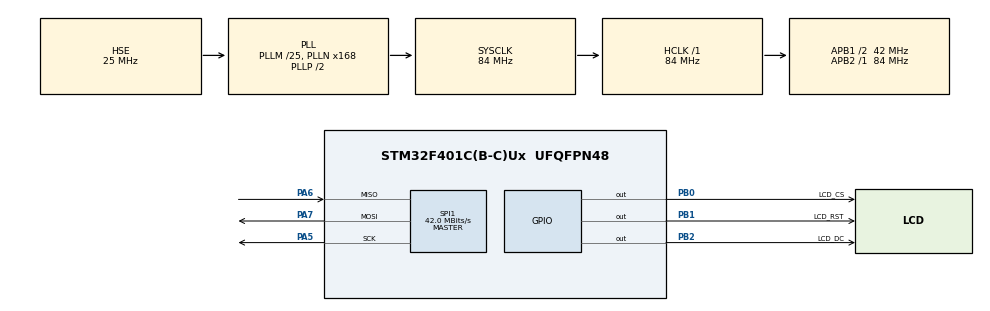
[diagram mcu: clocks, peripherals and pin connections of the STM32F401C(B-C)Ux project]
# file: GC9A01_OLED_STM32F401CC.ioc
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Dma.Request0=SPI1_RX
Dma.Request1=SPI1_TX
Dma.SPI1_RX.0.Direction=DMA_PERIPH_TO_MEMORY
Dma.SPI1_RX.0.FIFOMode=DMA_FIFOMODE_DISABLE
Dma.SPI1_RX.0.Instance=DMA2_Stream0
Dma.SPI1_RX.0.MemDataAlignment=DMA_MDATAALIGN_BYTE
Dma.SPI1_RX.0.MemInc=DMA_MINC_ENABLE
Dma.SPI1_RX.0.Mode=DMA_NORMAL
Dma.SPI1_RX.0.PeriphDataAlignment=DMA_PDATAALIGN_BYTE
Dma.SPI1_RX.0.PeriphInc=DMA_PINC_DISABLE
Dma.SPI1_RX.0.Priority=DMA_PRIORITY_LOW
Dma.SPI1_TX.1.Direction=DMA_MEMORY_TO_PERIPH
Dma.SPI1_TX.1.FIFOMode=DMA_FIFOMODE_DISABLE
Dma.SPI1_TX.1.Instance=DMA2_Stream3
Dma.SPI1_TX.1.MemDataAlignment=DMA_MDATAALIGN_BYTE
Dma.SPI1_TX.1.MemInc=DMA_MINC_ENABLE
Dma.SPI1_TX.1.Mode=DMA_NORMAL
Dma.SPI1_TX.1.PeriphDataAlignment=DMA_PDATAALIGN_BYTE
Dma.SPI1_TX.1.PeriphInc=DMA_PINC_DISABLE
Dma.SPI1_TX.1.Priority=DMA_PRIORITY_LOW
Mcu.Family=STM32F4
Mcu.Name=STM32F401C(B-C)Ux
Mcu.Package=UFQFPN48
NVIC.DMA2_Stream0_IRQn=true\:0\:0\:false\:false\:true\:false\:true\:true
NVIC.DMA2_Stream3_IRQn=true\:0\:0\:false\:false\:true\:false\:true\:true
NVIC.PriorityGroup=NVIC_PRIORITYGROUP_4
PA13.Mode=Serial_Wire
PA13.Signal=SYS_JTMS-SWDIO
PA14.Mode=Serial_Wire
PA14.Signal=SYS_JTCK-SWCLK
PA5.Mode=Full_Duplex_Master
PA5.Signal=SPI1_SCK
PA6.Mode=Full_Duplex_Master
PA6.Signal=SPI1_MISO
PA7.Mode=Full_Duplex_Master
PA7.Signal=SPI1_MOSI
PB0.GPIO_Label=LCD_CS
PB0.GPIO_Speed=GPIO_SPEED_FREQ_VERY_HIGH
PB0.Signal=GPIO_Output
PB1.GPIO_Label=LCD_RST
PB1.GPIO_Speed=GPIO_SPEED_FREQ_VERY_HIGH
PB1.Signal=GPIO_Output
PB2.GPIO_Label=LCD_DC
PB2.GPIO_Speed=GPIO_SPEED_FREQ_VERY_HIGH
PB2.Signal=GPIO_Output
PH0\ -\ OSC_IN.Mode=HSE-External-Oscillator
PH0\ -\ OSC_IN.Signal=RCC_OSC_IN
PH1\ -\ OSC_OUT.Mode=HSE-External-Oscillator
PH1\ -\ OSC_OUT.Signal=RCC_OSC_OUT
ProjectManager.HeapSize=0x200
ProjectManager.StackSize=0x400
ProjectManager.TargetToolchain=STM32CubeIDE
RCC.48MHZClocksFreq_Value=42000000
RCC.AHBFreq_Value=84000000
RCC.APB1CLKDivider=RCC_HCLK_DIV2
RCC.APB1Freq_Value=42000000
RCC.APB1TimFreq_Value=84000000
RCC.APB2Freq_Value=84000000
RCC.APB2TimFreq_Value=84000000
RCC.CortexFreq_Value=84000000
RCC.HCLKFreq_Value=84000000
RCC.HSE_VALUE=25000000
RCC.HSI_VALUE=16000000
RCC.LSE_VALUE=32768
RCC.PLLM=25
RCC.PLLN=168
RCC.PLLSourceVirtual=RCC_PLLSOURCE_HSE
RCC.SYSCLKFreq_VALUE=84000000
RCC.SYSCLKSource=RCC_SYSCLKSOURCE_PLLCLK
RCC.VCOOutputFreq_Value=168000000
RTC.Hours=12
RTC.Minutes=15
SPI1.BaudRatePrescaler=SPI_BAUDRATEPRESCALER_2
SPI1.CalculateBaudRate=42.0 MBits/s
SPI1.Direction=SPI_DIRECTION_2LINES
SPI1.Mode=SPI_MODE_MASTER
SPI1.VirtualType=VM_MASTER
VP_RTC_VS_RTC_Activate.Mode=RTC_Enabled
VP_RTC_VS_RTC_Calendar.Mode=RTC_Calendar
board=custom

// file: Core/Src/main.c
/* USER CODE BEGIN Header */
/**
  ******************************************************************************
  * @file           : main.c
  * @brief          : Main program body
  ******************************************************************************
  * @attention
  *
  * Copyright (c) 2024 STMicroelectronics.
  * All rights reserved.
  *
  * This software is licensed under terms that can be found in the LICENSE file
  * in the root directory of this software component.
  * If no LICENSE file comes with this software, it is provided AS-IS.
  *
  ******************************************************************************
  */
/* USER CODE END Header */
#include "main.h"

/* USER CODE BEGIN Includes */
#include "GC9A01.h"

#include "bitmap.h"
#include "fonts.h"

#include "stdio.h"

uint8_t hh,mm,ss;

#define PI 	3.14159265
#define xC	120
#define yC	120
/* USER CODE END Includes */

RTC_HandleTypeDef hrtc;

SPI_HandleTypeDef hspi1;
DMA_HandleTypeDef hdma_spi1_rx;
DMA_HandleTypeDef hdma_spi1_tx;

void SystemClock_Config(void);
static void MX_GPIO_Init(void);
static void MX_DMA_Init(void);
static void MX_SPI1_Init(void);
static void MX_RTC_Init(void);

/* USER CODE BEGIN 0 */
static void DrawArrow(int16_t angle, uint8_t lineLen, uint8_t thick, uint16_t color) {

	angle -= 90;
	float angleRad = (float) angle * PI / 180;
	int x = cos(angleRad) * lineLen + xC;
	int y = sin(angleRad) * lineLen + yC;

	GC9A01_DrawLineThick(xC, yC, x, y, color, thick);
}

void DrawClock(uint8_t hour, uint8_t min, uint8_t sec, uint8_t light, uint8_t secBubbles) {

	uint16_t bgColor, riskColor, digitColor, arrowColor, secArcColor;

	if (light) {
		bgColor = GC9A01_WHITE;
		riskColor = digitColor = arrowColor = GC9A01_BLACK;
		secArcColor = GC9A01_MAGENTA;
	} else {
		bgColor = GC9A01_BLACK;
		riskColor = digitColor = arrowColor = GC9A01_WHITE;
		secArcColor = GC9A01_GREEN;
	}

//	GC9A01_FillScreen(bgColor);   //NO DMA
	ClearScreen2(GC9A01_BLACK);   //DMA

	uint8_t radius1 = 119;
	for (uint16_t angle = 0; angle <= 360; angle += 6) {
		uint8_t riskSize;
		if (!(angle % 90))
			riskSize = 13;
		else if (!(angle % 30))
			riskSize = 10;
		else
			riskSize = 6;

		uint8_t radius2 = radius1 - riskSize;
		float angleRad = (float) angle * PI / 180;
		int x1 = cos(angleRad) * radius1 + xC;
		int y1 = sin(angleRad) * radius1 + yC;
		int x2 = cos(angleRad) * radius2 + xC;
		int y2 = sin(angleRad) * radius2 + yC;

		GC9A01_DrawLine(x1, y1, x2, y2, riskColor);
	}

	GC9A01_print( 165, 30, digitColor , RGB565(0, 10, 100) , 0, &Font_11x18, 1, "1" );
	GC9A01_print( 200, 63, digitColor , RGB565(0, 10, 100) , 0, &Font_11x18, 1, "2" );
	GC9A01_print( 207, 110, digitColor , RGB565(0, 10, 100) , 0, &Font_16x26, 1, "3" );
	GC9A01_print( 200, 160, digitColor , RGB565(0, 10, 100) , 0, &Font_11x18, 1, "4" );
	GC9A01_print( 165, 193, digitColor , RGB565(0, 10, 100) , 0, &Font_11x18, 1, "5" );
	GC9A01_print( 110, 200, digitColor , RGB565(0, 10, 100) , 0, &Font_16x26, 1, "6" );
	GC9A01_print( 65, 193, digitColor , RGB565(0, 10, 100) , 0, &Font_11x18, 1, "7" );
	GC9A01_print( 32, 160, digitColor , RGB565(0, 10, 100) , 0, &Font_11x18, 1, "8" );
	GC9A01_print( 19, 110, digitColor , RGB565(0, 10, 100) , 0, &Font_16x26, 1, "9" );
	GC9A01_print( 32, 63, digitColor , RGB565(0, 10, 100) , 0, &Font_11x18, 1, "10" );
	GC9A01_print( 65, 30, digitColor , RGB565(0, 10, 100) , 0, &Font_11x18, 1, "11" );
	GC9A01_print( 106, 20, digitColor , RGB565(0, 10, 100) , 0, &Font_16x26, 1, "12" );

	DrawArrow(min * 6 + sec / 10, 80, 2, arrowColor);

	DrawArrow(hour * 30 + min / 2, 50, 4, arrowColor);

	if (!sec)
		sec = 60;
	if (secBubbles) {
		int16_t startAngle = -90;
		int16_t endAngle = sec * 6 - 90;

		for (int16_t angle = startAngle; angle <= endAngle; angle += 6) {
			float angleRad = (float) angle * PI / 180;
			int x = cos(angleRad) * 119 + xC;
			int y = sin(angleRad) * 119 + yC;

			if (angle == endAngle)
				GC9A01_DrawCircleFilled(x, y, 4, secArcColor);
			else
				GC9A01_DrawCircleFilled(x, y, 2, secArcColor);
		}
	} else
		GC9A01_DrawArc(xC, yC, 119, 0, sec * 6, secArcColor, 2);

	//HAL_Delay(50);
}
/* USER CODE END 0 */

int main(void)
{

  /* MCU Configuration--------------------------------------------------------*/

  /* Reset of all peripherals, Initializes the Flash interface and the Systick. */
  HAL_Init();

  /* Configure the system clock */
  SystemClock_Config();

  /* Initialize all configured peripherals */
  MX_GPIO_Init();
  MX_DMA_Init();
  MX_SPI1_Init();
  MX_RTC_Init();
  /* USER CODE BEGIN 2 */
  GC9A01_Init();
//  	GC9A01_FillScreen( RGB565(255, 0, 0) );
//  	HAL_Delay (1000);
//  	GC9A01_FillScreen( RGB565(0, 255, 0) );
//  	HAL_Delay (1000);
//  	GC9A01_FillScreen( RGB565(0, 0, 255) );
//  	HAL_Delay (1000);
//  	GC9A01_FillScreen( RGB565(57, 179, 185) );
//  	HAL_Delay (1000);
//  	GC9A01_DrawPixel( 12, 12, RGB565( 255, 255, 255 ) );
//  	HAL_Delay (1000);
//    GC9A01_DrawChar( 120, 20, RGB565( 228, 233, 50 ) , RGB565( 0, 10, 10 ) , 0, &Font_16x26, 1, 'F' );
//  	HAL_Delay (1000);
//  	GC9A01_Clear();
//  	GC9A01_DrawRectangleFilled(105, 105, 30, 30, RGB565(255, 255, 255)) ;
//  	HAL_Delay (1000);
//  	for( uint8_t i = 0; i< GC9A01_Width; i+=3){
//  		GC9A01_DrawRectangleFilled(i, i, GC9A01_Width-i, GC9A01_Height-i, RGB565(i/2, 255-i, 0+i)) ;
//  	}
//
//  	for( uint8_t i = 0; i< GC9A01_Width/2; i+=3){
//  		GC9A01_DrawRectangle(i, i, GC9A01_Width-i, GC9A01_Height-i, RGB565(255, 0, 0)) ;
//  	}
//  	HAL_Delay (1000);
//  	GC9A01_Clear();
//    GC9A01_DrawImage( 80, 80, 85, 53, img0	);
//  	HAL_Delay (1000);
//
//  	GC9A01_print( 1, 1, RGB565(255, 255, 255) , RGB565(0, 10, 100) , 1, &Font_16x26, 1, "STM32 TFT" );
//
//  	GC9A01_print( 1, 20, RGB565(255, 0, 0) , RGB565(0, 10, 100) , 1, &Font_11x18, 1, "Кла�?�?ный ди�?плей !!!" );
//
//    GC9A01_print( 1, 40, RGB565(0, 255, 0) , RGB565(0, 10, 100) , 1, &Font_7x9, 2, "GC9A01 : 240x240" );
//
//  	HAL_Delay (1000);
//
//  	GC9A01_Clear();
//
//  	GC9A01_DrawBitmap( 50, 50, logo, 128, 27, RGB565(255, 0, 255) );
//
//  	HAL_Delay (1000);
//
//  	GC9A01_Clear();
//
//  	GC9A01_DrawCircle(120-1, 120-1, 10, RGB565(255, 0, 255));
//
//  	HAL_Delay (1000);
//
//  	GC9A01_DrawArc(100, 100, 50, 90, 180, RGB565(255, 255, 0), 5);
//
//  	GC9A01_DrawCircleFilled(50, 290, 20, RGB565(255, 40, 255)) ;
//
//  	GC9A01_DrawLine(1, 319, 239, 319, RGB565(255, 255, 0));
//
//  	GC9A01_DrawLineThick(10, 120, 200, 140, RGB565(255, 255, 0), 5);
//
//  	GC9A01_DrawRectangleFilled(90, 265, 140, 310, RGB565(0, 255, 0)) ;
//
//  	GC9A01_DrawRectangle(160, 265, 220, 309, RGB565(255, 255, 255)) ;
//
//  	GC9A01_DrawTriangle(60, 40, 150, 100, 200, 200, RGB565(100, 255, 150) );
//
//  	GC9A01_DrawFilledTriangle(20, 40, 150, 100, 200, 200, RGB565(100, 255, 150) );
//
//  	GC9A01_DrawFillRoundRect(10, 10, 50, 50, 10, RGB565(100, 255, 150));
//
//  	GC9A01_DrawRoundRect(10, 10, 50, 50, 10, RGB565(100, 255, 150));
//
//  	GC9A01_DrawFillCircleHelper(30, 30, 20 , 1, 0, RGB565(100, 255, 150));
//
//  	GC9A01_DrawCircleHelper(30, 30, 20 , 1, RGB565(100, 255, 150));
//
//  	HAL_Delay (1000);
//
//  	GC9A01_SleepModeEnter();
//  	HAL_Delay (1000);
//
//  	GC9A01_SleepModeExit();
//  	HAL_Delay (1000);
//
//  	GC9A01_DisplayPower( 0 );
//  	HAL_Delay (1000);
//
//  	GC9A01_DisplayPower( 1 );
//  	HAL_Delay (1000);
//
//  	GC9A01_InversionMode(0);
//  	HAL_Delay (1000);
//
//  	GC9A01_InversionMode(1);
//  	HAL_Delay (1000);
  /* USER CODE END 2 */

  /* Infinite loop */
  /* USER CODE BEGIN WHILE */
  while (1)
  {

		RTC_DateTypeDef gDate;
		RTC_TimeTypeDef gTime;

		  HAL_RTC_GetTime(&hrtc, &gTime, RTC_FORMAT_BIN);
		  /* Get the RTC current Date */
		  HAL_RTC_GetDate(&hrtc, &gDate, RTC_FORMAT_BIN);

		    ss=gTime.Seconds;
		    mm=gTime.Minutes;
		    hh=gTime.Hours;

//		for( uint8_t i = 0; i < 60; i++ ){
			DrawClock(hh, mm, ss, 0, 0);
			HAL_Delay(100);
//		}
    /* USER CODE END WHILE */

  }
}

void SystemClock_Config(void)
{
  RCC_OscInitTypeDef RCC_OscInitStruct = {0};
  RCC_ClkInitTypeDef RCC_ClkInitStruct = {0};

  /** Configure the main internal regulator output voltage
  */
  __HAL_RCC_PWR_CLK_ENABLE();
  __HAL_PWR_VOLTAGESCALING_CONFIG(PWR_REGULATOR_VOLTAGE_SCALE2);

  /** Initializes the RCC Oscillators according to the specified parameters
  * in the RCC_OscInitTypeDef structure.
  */
  RCC_OscInitStruct.OscillatorType = RCC_OSCILLATORTYPE_LSI|RCC_OSCILLATORTYPE_HSE;
  RCC_OscInitStruct.HSEState = RCC_HSE_ON;
  RCC_OscInitStruct.LSIState = RCC_LSI_ON;
  RCC_OscInitStruct.PLL.PLLState = RCC_PLL_ON;
  RCC_OscInitStruct.PLL.PLLSource = RCC_PLLSOURCE_HSE;
  RCC_OscInitStruct.PLL.PLLM = 25;
  RCC_OscInitStruct.PLL.PLLN = 168;
  RCC_OscInitStruct.PLL.PLLP = RCC_PLLP_DIV2;
  RCC_OscInitStruct.PLL.PLLQ = 4;
  if (HAL_RCC_OscConfig(&RCC_OscInitStruct) != HAL_OK)
  {
    Error_Handler();
  }

  /** Initializes the CPU, AHB and APB buses clocks
  */
  RCC_ClkInitStruct.ClockType = RCC_CLOCKTYPE_HCLK|RCC_CLOCKTYPE_SYSCLK
                              |RCC_CLOCKTYPE_PCLK1|RCC_CLOCKTYPE_PCLK2;
  RCC_ClkInitStruct.SYSCLKSource = RCC_SYSCLKSOURCE_PLLCLK;
  RCC_ClkInitStruct.AHBCLKDivider = RCC_SYSCLK_DIV1;
  RCC_ClkInitStruct.APB1CLKDivider = RCC_HCLK_DIV2;
  RCC_ClkInitStruct.APB2CLKDivider = RCC_HCLK_DIV1;

  if (HAL_RCC_ClockConfig(&RCC_ClkInitStruct, FLASH_LATENCY_2) != HAL_OK)
  {
    Error_Handler();
  }
}

static void MX_RTC_Init(void)
{

  RTC_TimeTypeDef sTime = {0};
  RTC_DateTypeDef sDate = {0};

  /** Initialize RTC Only
  */
  hrtc.Instance = RTC;
  hrtc.Init.HourFormat = RTC_HOURFORMAT_24;
  hrtc.Init.AsynchPrediv = 127;
  hrtc.Init.SynchPrediv = 255;
  hrtc.Init.OutPut = RTC_OUTPUT_DISABLE;
  hrtc.Init.OutPutPolarity = RTC_OUTPUT_POLARITY_HIGH;
  hrtc.Init.OutPutType = RTC_OUTPUT_TYPE_OPENDRAIN;
  if (HAL_RTC_Init(&hrtc) != HAL_OK)
  {
    Error_Handler();
  }

  /** Initialize RTC and set the Time and Date
  */
  sTime.Hours = 0x12;
  sTime.Minutes = 0x15;
  sTime.Seconds = 0x0;
  sTime.DayLightSaving = RTC_DAYLIGHTSAVING_NONE;
  sTime.StoreOperation = RTC_STOREOPERATION_RESET;
  if (HAL_RTC_SetTime(&hrtc, &sTime, RTC_FORMAT_BCD) != HAL_OK)
  {
    Error_Handler();
  }
  sDate.WeekDay = RTC_WEEKDAY_MONDAY;
  sDate.Month = RTC_MONTH_JANUARY;
  sDate.Date = 0x1;
  sDate.Year = 0x0;

  if (HAL_RTC_SetDate(&hrtc, &sDate, RTC_FORMAT_BCD) != HAL_OK)
  {
    Error_Handler();
  }

}

static void MX_SPI1_Init(void)
{

  /* SPI1 parameter configuration*/
  hspi1.Instance = SPI1;
  hspi1.Init.Mode = SPI_MODE_MASTER;
  hspi1.Init.Direction = SPI_DIRECTION_2LINES;
  hspi1.Init.DataSize = SPI_DATASIZE_8BIT;
  hspi1.Init.CLKPolarity = SPI_POLARITY_LOW;
  hspi1.Init.CLKPhase = SPI_PHASE_1EDGE;
  hspi1.Init.NSS = SPI_NSS_SOFT;
  hspi1.Init.BaudRatePrescaler = SPI_BAUDRATEPRESCALER_2;
  hspi1.Init.FirstBit = SPI_FIRSTBIT_MSB;
  hspi1.Init.TIMode = SPI_TIMODE_DISABLE;
  hspi1.Init.CRCCalculation = SPI_CRCCALCULATION_DISABLE;
  hspi1.Init.CRCPolynomial = 10;
  if (HAL_SPI_Init(&hspi1) != HAL_OK)
  {
    Error_Handler();
  }

}

static void MX_DMA_Init(void)
{

  /* DMA controller clock enable */
  __HAL_RCC_DMA2_CLK_ENABLE();

  /* DMA interrupt init */
  /* DMA2_Stream0_IRQn interrupt configuration */
  HAL_NVIC_SetPriority(DMA2_Stream0_IRQn, 0, 0);
  HAL_NVIC_EnableIRQ(DMA2_Stream0_IRQn);
  /* DMA2_Stream3_IRQn interrupt configuration */
  HAL_NVIC_SetPriority(DMA2_Stream3_IRQn, 0, 0);
  HAL_NVIC_EnableIRQ(DMA2_Stream3_IRQn);

}

static void MX_GPIO_Init(void)
{
  GPIO_InitTypeDef GPIO_InitStruct = {0};

  /* GPIO Ports Clock Enable */
  __HAL_RCC_GPIOH_CLK_ENABLE();
  __HAL_RCC_GPIOA_CLK_ENABLE();
  __HAL_RCC_GPIOB_CLK_ENABLE();

  /*Configure GPIO pin Output Level */
  HAL_GPIO_WritePin(GPIOB, LCD_CS_Pin|LCD_RST_Pin|LCD_DC_Pin, GPIO_PIN_RESET);

  /*Configure GPIO pins : LCD_CS_Pin LCD_RST_Pin LCD_DC_Pin */
  GPIO_InitStruct.Pin = LCD_CS_Pin|LCD_RST_Pin|LCD_DC_Pin;
  GPIO_InitStruct.Mode = GPIO_MODE_OUTPUT_PP;
  GPIO_InitStruct.Pull = GPIO_NOPULL;
  GPIO_InitStruct.Speed = GPIO_SPEED_FREQ_VERY_HIGH;
  HAL_GPIO_Init(GPIOB, &GPIO_InitStruct);

}

void Error_Handler(void)
{
  __disable_irq();
  while (1)
  {
  }
}
